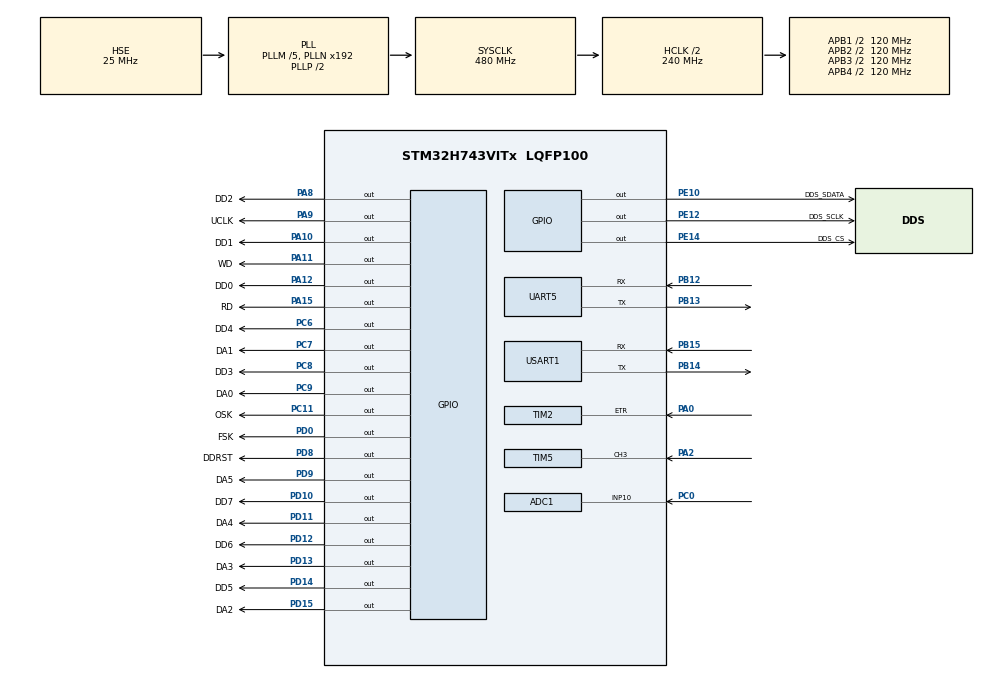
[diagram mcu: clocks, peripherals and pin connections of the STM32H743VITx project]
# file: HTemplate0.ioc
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ADC1.Channel-1\#ChannelRegularConversion=ADC_CHANNEL_10
ADC1.ClockPrescaler=ADC_CLOCK_ASYNC_DIV1
ADC1.ClockPrescalerADC3=ADC_CLOCK_ASYNC_DIV1
ADC1.ContinuousConvMode=DISABLE
ADC1.ConversionDataManagement=ADC_CONVERSIONDATA_DMA_CIRCULAR
ADC1.ExternalTrigConv=ADC_EXTERNALTRIG_T6_TRGO
ADC1.NbrOfConversionFlag=1
ADC1.OffsetNumber-1\#ChannelRegularConversion=ADC_OFFSET_NONE
ADC1.OffsetSignedSaturation-1\#ChannelRegularConversion=DISABLE
ADC1.Overrun=ADC_OVR_DATA_PRESERVED
ADC1.Rank-1\#ChannelRegularConversion=1
ADC1.Resolution=ADC_RESOLUTION_16B
ADC1.SamplingTime-1\#ChannelRegularConversion=ADC_SAMPLETIME_1CYCLE_5
ADC1.master=1
CORTEX_M7.CPU_DCache=Enabled
CORTEX_M7.Enable_S-Cortex_Memory_Protection_Unit_Region1_Settings_S=__NULL
Dma.ADC1.0.Direction=DMA_PERIPH_TO_MEMORY
Dma.ADC1.0.EventEnable=DISABLE
Dma.ADC1.0.FIFOMode=DMA_FIFOMODE_DISABLE
Dma.ADC1.0.Instance=DMA1_Stream0
Dma.ADC1.0.MemDataAlignment=DMA_MDATAALIGN_HALFWORD
Dma.ADC1.0.MemInc=DMA_MINC_ENABLE
Dma.ADC1.0.Mode=DMA_NORMAL
Dma.ADC1.0.PeriphDataAlignment=DMA_PDATAALIGN_HALFWORD
Dma.ADC1.0.PeriphInc=DMA_PINC_DISABLE
Dma.ADC1.0.Polarity=HAL_DMAMUX_REQ_GEN_RISING
Dma.ADC1.0.Priority=DMA_PRIORITY_LOW
Dma.ADC1.0.RequestNumber=1
Dma.ADC1.0.SignalID=NONE
Dma.ADC1.0.SyncEnable=DISABLE
Dma.ADC1.0.SyncPolarity=HAL_DMAMUX_SYNC_NO_EVENT
Dma.ADC1.0.SyncRequestNumber=1
Dma.ADC1.0.SyncSignalID=NONE
Dma.Request0=ADC1
Mcu.Family=STM32H7
Mcu.Name=STM32H743VITx
Mcu.Package=LQFP100
NVIC.DMA1_Stream0_IRQn=true\:0\:0\:false\:false\:true\:false\:true\:true
NVIC.PriorityGroup=NVIC_PRIORITYGROUP_4
NVIC.TIM4_IRQn=true\:0\:0\:false\:false\:true\:true\:true\:true
NVIC.TIM5_IRQn=true\:0\:0\:false\:false\:true\:true\:true\:true
NVIC.USART1_IRQn=true\:0\:0\:false\:false\:true\:true\:true\:true
PA0.Signal=S_TIM2_CH1_ETR
PA10.GPIO_Label=DD1
PA10.GPIO_PuPd=GPIO_PULLDOWN
PA10.GPIO_Speed=GPIO_SPEED_FREQ_VERY_HIGH
PA10.PinState=GPIO_PIN_RESET
PA10.Signal=GPIO_Output
PA11.GPIO_Label=WD
PA11.GPIO_PuPd=GPIO_PULLUP
PA11.GPIO_Speed=GPIO_SPEED_FREQ_VERY_HIGH
PA11.PinState=GPIO_PIN_SET
PA11.Signal=GPIO_Output
PA12.GPIO_Label=DD0
PA12.GPIO_PuPd=GPIO_PULLDOWN
PA12.GPIO_Speed=GPIO_SPEED_FREQ_VERY_HIGH
PA12.PinState=GPIO_PIN_RESET
PA12.Signal=GPIO_Output
PA13\ (JTMS/SWDIO).Mode=Serial_Wire
PA13\ (JTMS/SWDIO).Signal=DEBUG_JTMS-SWDIO
PA14\ (JTCK/SWCLK).Mode=Serial_Wire
PA14\ (JTCK/SWCLK).Signal=DEBUG_JTCK-SWCLK
PA15\ (JTDI).GPIO_Label=RD
PA15\ (JTDI).GPIO_PuPd=GPIO_PULLUP
PA15\ (JTDI).GPIO_Speed=GPIO_SPEED_FREQ_VERY_HIGH
PA15\ (JTDI).PinState=GPIO_PIN_SET
PA15\ (JTDI).Signal=GPIO_Output
PA2.GPIO_PuPd=GPIO_PULLDOWN
PA2.GPIO_Speed=GPIO_SPEED_FREQ_VERY_HIGH
PA2.Signal=S_TIM5_CH3
PA8.GPIO_Label=DD2
PA8.GPIO_PuPd=GPIO_PULLDOWN
PA8.GPIO_Speed=GPIO_SPEED_FREQ_VERY_HIGH
PA8.PinState=GPIO_PIN_RESET
PA8.Signal=GPIO_Output
PA9.GPIO_Label=UCLK
PA9.GPIO_PuPd=GPIO_PULLDOWN
PA9.GPIO_Speed=GPIO_SPEED_FREQ_VERY_HIGH
PA9.PinState=GPIO_PIN_RESET
PA9.Signal=GPIO_Output
PB12.Mode=Asynchronous
PB12.Signal=UART5_RX
PB13.Mode=Asynchronous
PB13.Signal=UART5_TX
PB14.Mode=Asynchronous
PB14.Signal=USART1_TX
PB15.Mode=Asynchronous
PB15.Signal=USART1_RX
PC0.Signal=ADCx_INP10
PC11.GPIO_Label=OSK
PC11.GPIO_PuPd=GPIO_PULLDOWN
PC11.GPIO_Speed=GPIO_SPEED_FREQ_VERY_HIGH
PC11.PinState=GPIO_PIN_RESET
PC11.Signal=GPIO_Output
PC6.GPIO_Label=DD4
PC6.GPIO_PuPd=GPIO_PULLDOWN
PC6.GPIO_Speed=GPIO_SPEED_FREQ_VERY_HIGH
PC6.PinState=GPIO_PIN_RESET
PC6.Signal=GPIO_Output
PC7.GPIO_Label=DA1
PC7.GPIO_PuPd=GPIO_PULLDOWN
PC7.GPIO_Speed=GPIO_SPEED_FREQ_VERY_HIGH
PC7.PinState=GPIO_PIN_RESET
PC7.Signal=GPIO_Output
PC8.GPIO_Label=DD3
PC8.GPIO_PuPd=GPIO_PULLDOWN
PC8.GPIO_Speed=GPIO_SPEED_FREQ_VERY_HIGH
PC8.PinState=GPIO_PIN_RESET
PC8.Signal=GPIO_Output
PC9.GPIO_Label=DA0
PC9.GPIO_PuPd=GPIO_PULLDOWN
PC9.GPIO_Speed=GPIO_SPEED_FREQ_VERY_HIGH
PC9.PinState=GPIO_PIN_RESET
PC9.Signal=GPIO_Output
PD0.GPIO_Label=FSK
PD0.GPIO_PuPd=GPIO_PULLDOWN
PD0.GPIO_Speed=GPIO_SPEED_FREQ_VERY_HIGH
PD0.PinState=GPIO_PIN_RESET
PD0.Signal=GPIO_Output
PD10.GPIO_Label=DD7
PD10.GPIO_PuPd=GPIO_PULLDOWN
PD10.GPIO_Speed=GPIO_SPEED_FREQ_VERY_HIGH
PD10.PinState=GPIO_PIN_RESET
PD10.Signal=GPIO_Output
PD11.GPIO_Label=DA4
PD11.GPIO_PuPd=GPIO_PULLDOWN
PD11.GPIO_Speed=GPIO_SPEED_FREQ_VERY_HIGH
PD11.PinState=GPIO_PIN_RESET
PD11.Signal=GPIO_Output
PD12.GPIO_Label=DD6
PD12.GPIO_PuPd=GPIO_PULLDOWN
PD12.GPIO_Speed=GPIO_SPEED_FREQ_VERY_HIGH
PD12.PinState=GPIO_PIN_RESET
PD12.Signal=GPIO_Output
PD13.GPIO_Label=DA3
PD13.GPIO_PuPd=GPIO_PULLDOWN
PD13.GPIO_Speed=GPIO_SPEED_FREQ_VERY_HIGH
PD13.PinState=GPIO_PIN_RESET
PD13.Signal=GPIO_Output
PD14.GPIO_Label=DD5
PD14.GPIO_PuPd=GPIO_PULLDOWN
PD14.GPIO_Speed=GPIO_SPEED_FREQ_VERY_HIGH
PD14.Signal=GPIO_Output
PD15.GPIO_Label=DA2
PD15.GPIO_PuPd=GPIO_PULLDOWN
PD15.GPIO_Speed=GPIO_SPEED_FREQ_VERY_HIGH
PD15.PinState=GPIO_PIN_RESET
PD15.Signal=GPIO_Output
PD8.GPIO_Label=DDRST
PD8.GPIO_PuPd=GPIO_PULLDOWN
PD8.GPIO_Speed=GPIO_SPEED_FREQ_VERY_HIGH
PD8.PinState=GPIO_PIN_RESET
PD8.Signal=GPIO_Output
PD9.GPIO_Label=DA5
PD9.GPIO_PuPd=GPIO_PULLDOWN
PD9.GPIO_Speed=GPIO_SPEED_FREQ_VERY_HIGH
PD9.PinState=GPIO_PIN_RESET
PD9.Signal=GPIO_Output
PE10.GPIO_Label=DDS_SDATA
PE10.GPIO_PuPd=GPIO_PULLUP
PE10.GPIO_Speed=GPIO_SPEED_FREQ_VERY_HIGH
PE10.PinState=GPIO_PIN_SET
PE10.Signal=GPIO_Output
PE12.GPIO_Label=DDS_SCLK
PE12.GPIO_PuPd=GPIO_PULLDOWN
PE12.GPIO_Speed=GPIO_SPEED_FREQ_VERY_HIGH
PE12.PinState=GPIO_PIN_RESET
PE12.Signal=GPIO_Output
PE14.GPIO_Label=DDS_CS
PE14.GPIO_ModeDefaultOutputPP=GPIO_MODE_OUTPUT_PP
PE14.GPIO_PuPd=GPIO_PULLUP
PE14.GPIO_Speed=GPIO_SPEED_FREQ_VERY_HIGH
PE14.PinState=GPIO_PIN_SET
PE14.Signal=GPIO_Output
PH0-OSC_IN\ (PH0).Mode=HSE-External-Oscillator
PH0-OSC_IN\ (PH0).Signal=RCC_OSC_IN
PH1-OSC_OUT\ (PH1).Mode=HSE-External-Oscillator
PH1-OSC_OUT\ (PH1).Signal=RCC_OSC_OUT
ProjectManager.HeapSize=0x200
ProjectManager.StackSize=0x7400
ProjectManager.TargetToolchain=MDK-ARM V5.32
RCC.ADCFreq_Value=72000000
RCC.APB1Freq_Value=120000000
RCC.APB2Freq_Value=120000000
RCC.APB3Freq_Value=120000000
RCC.APB4Freq_Value=120000000
RCC.CortexFreq_Value=480000000
RCC.D1PPRE=RCC_APB3_DIV2
RCC.D2PPRE1=RCC_APB1_DIV2
RCC.D2PPRE2=RCC_APB2_DIV2
RCC.D3PPRE=RCC_APB4_DIV2
RCC.DIVM1=5
RCC.DIVM2=25
RCC.DIVN1=192
RCC.DIVN2=360
RCC.DIVP2=5
RCC.HCLKFreq_Value=240000000
RCC.HPRE=RCC_HCLK_DIV2
RCC.PLL2FRACN=0
RCC.PLL3FRACN=0
RCC.PLLFRACN=0
RCC.PLLSourceVirtual=RCC_PLLSOURCE_HSE
RCC.PWR_Regulator_Voltage_Scale=PWR_REGULATOR_VOLTAGE_SCALE0
RCC.SYSCLKFreq_VALUE=480000000
RCC.SYSCLKSource=RCC_SYSCLKSOURCE_PLLCLK
RCC.USBFreq_Value=480000000
SH.ADCx_INP10.0=ADC1_INP10,IN10-Single-Ended
SH.S_TIM2_CH1_ETR.0=TIM2_ETR,ClockSourceETR_Mode2
SH.S_TIM5_CH3.0=TIM5_CH3,Input_Capture3_from_TI3
TIM2.AutoReloadPreload=TIM_AUTORELOAD_PRELOAD_ENABLE
TIM2.ClockDivision=TIM_CLOCKDIVISION_DIV1
TIM2.Period=4294967295
TIM2.Prescaler=0
TIM4.AutoReloadPreload=TIM_AUTORELOAD_PRELOAD_ENABLE
TIM4.CounterMode=TIM_COUNTERMODE_UP
TIM4.Period=5000-1
TIM4.Prescaler=48-1
TIM5.AutoReloadPreload=TIM_AUTORELOAD_PRELOAD_ENABLE
TIM5.Channel-Input_Capture3_from_TI3=TIM_CHANNEL_3
TIM5.ICFilter_CH3=8
TIM5.Prescaler=0
TIM6.Period=16-1
TIM6.Prescaler=5-1
TIM6.TIM_MasterOutputTrigger=TIM_TRGO_UPDATE
TIM7.Prescaler=240
USART1.VirtualMode-Asynchronous=VM_ASYNC
VP_TIM4_VS_ClockSourceINT.Mode=Internal
VP_TIM5_VS_ClockSourceINT.Mode=Internal
VP_TIM6_VS_ClockSourceINT.Mode=Enable_Timer
VP_TIM7_VS_ClockSourceINT.Mode=Enable_Timer
board=custom

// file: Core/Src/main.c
/* USER CODE BEGIN Header */
/**
  ******************************************************************************
  * @file           : main.c
  * @brief          : Main program body
  ******************************************************************************
  * @attention
  *
  * Copyright (c) 2022 STMicroelectronics.
  * All rights reserved.
  *
  * This software is licensed under terms that can be found in the LICENSE file
  * in the root directory of this software component.
  * If no LICENSE file comes with this software, it is provided AS-IS.
  *
  ******************************************************************************
  */
/* USER CODE END Header */
#include "main.h"
#include "dma.h"
#include "tim.h"
#include "usart.h"
#include "gpio.h"

/* USER CODE BEGIN Includes */

ALIGN_32BYTES (uint16_t adc1_data[FFT_LENGTH]) 	__attribute__((section(".ARM.__at_0x30020000")));
__IO uint8_t fre_flag0 = 0;//表示载波频率测量结束

extern uint32_t 	flag;  // 输出频率标志位

__IO uint8_t AdcConvEnd = 0;//表示adc采集完成
__IO uint16_t fre_count = 0;//fm扫描标志位，在第101个上升沿

u16 			None_flag 				= 0;
u16 			AM_flag 					= 0;
u16 			FM_flag 					= 0;
uint32_t 	fm_value[10]  	= {0};//fm扫频临时存放值

uint32_t 	cnt 						= 0;  // 计数值，库函数为unit32_t
uint32_t 	cnt_value[201] 	= {0};
uint32_t 	capture_Buf[3] 	= {0};   //存放计数值
uint8_t 		capture_Cnt 			= 0;    //状态标志位
uint32_t 	high_time 				= 0;   //高电平时间
u16 			fm_temp 					= 0;
float	count_flag = 0;

/* USER CODE END Includes */

/* USER CODE BEGIN PV */
void adc_init(void)
{
    MX_ADC1_Init();	//初始化调用放这里, 确保在MX_DMA_Init()初始化后面
    HAL_Delay(100);	//有地方说这里可以等等电压稳定后再校准

    if (HAL_ADCEx_Calibration_Start(&hadc1, ADC_CALIB_OFFSET, ADC_SINGLE_ENDED) != HAL_OK)
    {
        printf("hadc1 error with HAL_ADCEx_Calibration_Start\r\n");
        Error_Handler();
    }

    if (HAL_ADC_Start_DMA(&hadc1, (uint32_t *)adc1_data, ADC1_BUFFER_SIZE) != HAL_OK)
    {
        printf("hadc1 error with HAL_ADC_Start_DMA\r\n");
        Error_Handler();
    }

		HAL_TIM_Base_Start(&htim6);
		while (!AdcConvEnd);
		AdcConvEnd = 0;
}

/* USER CODE END PV */

void SystemClock_Config(void);

int main(void)
{

  /* Enable D-Cache---------------------------------------------------------*/
  SCB_EnableDCache();

  /* MCU Configuration--------------------------------------------------------*/

  /* Reset of all peripherals, Initializes the Flash interface and the Systick. */
  HAL_Init();

  /* Configure the system clock */
  SystemClock_Config();

  /* Initialize all configured peripherals */
  MX_GPIO_Init();
  MX_DMA_Init();
  MX_USART1_UART_Init();
  MX_TIM2_Init();
  MX_TIM4_Init();
  MX_TIM5_Init();
  MX_TIM6_Init();
  MX_TIM7_Init();
  MX_UART5_Init();
  /* USER CODE BEGIN 2 */
	AD9833_Init();
	init_esp8266();
	connect_udp(3);
	AD9854_Init();
	for(int mino = 0;mino<5; mino++)
		AD9854_SetSine_double((1000 + 50000),4095);
	char screen_message[70];
	for(int i = 0;i<5;i++)
	USART1PutString("t6.txt=\"None\"\xff\xff\xff");
	sprintf(screen_message,"x1.val=%d\xff\xff\xff",(int)(0));
	USART1PutString(screen_message);
	sprintf(screen_message,"x2.val=%d\xff\xff\xff",(int)(0));
	USART1PutString(screen_message);
	sprintf(screen_message,"x0.val=%d\xff\xff\xff",(int)(0));
	USART1PutString(screen_message);
	sprintf(screen_message,"x3.val=%d\xff\xff\xff",(int)(0));
	USART1PutString(screen_message);
  /* USER CODE END 2 */
  /* Infinite loop */
  while (1)
  {

    /* USER CODE BEGIN 3 */

		if(None_flag)
		{

				None_flag = 0;
				HAL_TIM_Base_Start_IT(&htim4);
				HAL_TIM_Base_Start(&htim2);
				while(1){
				if(fre_flag0)
				break;
				};
				fre_flag0 = 0;
				fre_get();
				for(int mino = 0;mino<5; mino++)
				AD9854_SetSine_double((frequency + 50000),4095);
				printf("%d \r\n", frequency);
				TIM6->PSC = 30-1;
				adc_init();
//				Raw_Wave();
				FFT_Init();
				FFT_DIS();
				JUDGE();
				if(FM_flag == 1)
				{
					for(int i = 0;i<5;i++)
					USART1PutString("t6.txt=\"FM\"\xff\xff\xff");
					wave_type = 2;
					for(int mino = 0;mino<5; mino++)
					AD9854_SetSine_double((10000000 + 50000),4095);
					TIM6->PSC = 30-1;
					adc_init();
					FFT_Init();
					FM_peak();
					char screen_message[70];
					sprintf(screen_message,"x0.val=%d\xff\xff\xff",(int)(FM_fre/10));
					USART1PutString(screen_message);
					AD9854_SetSine_double((10000000 + 500000),4095);
					count_flag = (uint32_t)((float)50000/FM_fre);
					scanfre();
					sprintf(screen_message,"x3.val=%d\xff\xff\xff",(int)(fm_mf*100));
					USART1PutString(screen_message);
					AD9833_SetWaveData(FM_fre,0);
					AMDMF = fm_mf;
					send_fft();
					FM_flag = 0;
				}
				if(AM_flag == 1)
				{
					wave_type=1;
					AM_flag = 0;
					AM_peak2();
					AM_MF0();
					for(int i = 0;i<5;i++)
					USART1PutString("t6.txt=\"AM\"\xff\xff\xff");
					char screen_message[70];
					sprintf(screen_message,"x1.val=%d\xff\xff\xff",(int)(AM_fre/10));
					USART1PutString(screen_message);
					sprintf(screen_message,"x2.val=%d\xff\xff\xff",(int)(AMDMF*100));
					USART1PutString(screen_message);
					AD9833_SetWaveData(AM_fre,0);
					AMDMF = AMDMF;
					send_fft();
				}
				if(None_flag == 1)
				{
					for(int i = 0;i<5;i++)
					USART1PutString("t6.txt=\"None\"\xff\xff\xff");
					wave_type=0;
					AD9833_SetWaveData(0,0);
					None_flag = 0;
				}
		}
		if(AM_flag)
		{
			printf("Fl\r\n");
			wave_type=1;
			for(int mino = 0;mino<5; mino++)
			AD9854_SetSine_double((10000000 + 50000),4095);
			TIM6->PSC = 30-1;
			adc_init();
			FFT_Init();
			FFT_DIS();
			AM_peak();
			AM_MF0();
			for(int i = 0;i<50;i++)
			USART1PutString("t6.txt=\"AM\"\xff\xff\xff");
			char screen_message[70];
			sprintf(screen_message,"x1.val=%d\xff\xff\xff",(int)(AM_fre/10));
			USART1PutString(screen_message);
			sprintf(screen_message,"x2.val=%d\xff\xff\xff",(int)(AMDMF*100));
			USART1PutString(screen_message);
			AD9833_SetWaveData(AM_fre,0);
			AMDMF = AMDMF;
			send_fft();
			AM_flag = 0;
		}
		if(FM_flag)
		{
				for(int i = 0;i<50;i++)
				USART1PutString("t6.txt=\"FM\"\xff\xff\xff");
				wave_type = 2;
				for(int mino = 0;mino<5; mino++)
				AD9854_SetSine_double((10000000 + 50000),4095);
				TIM6->PSC = 30-1;
				adc_init();
				FFT_Init();
				FM_peak();
				char screen_message[70];
				sprintf(screen_message,"x0.val=%d\xff\xff\xff",(int)(FM_fre/10));
				USART1PutString(screen_message);
				AD9854_SetSine_double((10000000 + 500000),4095);
				count_flag = (uint32_t)((float)50000/FM_fre);
				scanfre();
				sprintf(screen_message,"x3.val=%d\xff\xff\xff",(int)(fm_mf*100));
				USART1PutString(screen_message);
				AD9833_SetWaveData(FM_fre,0);
				AMDMF = fm_mf;
				send_fft();
				FM_flag = 0;
		}
  }
  /* USER CODE END 3 */
}

void SystemClock_Config(void)
{
  RCC_OscInitTypeDef RCC_OscInitStruct = {0};
  RCC_ClkInitTypeDef RCC_ClkInitStruct = {0};

  /** Supply configuration update enable
  */
  HAL_PWREx_ConfigSupply(PWR_LDO_SUPPLY);

  /** Configure the main internal regulator output voltage
  */
  __HAL_PWR_VOLTAGESCALING_CONFIG(PWR_REGULATOR_VOLTAGE_SCALE1);

  while(!__HAL_PWR_GET_FLAG(PWR_FLAG_VOSRDY)) {}

  __HAL_RCC_SYSCFG_CLK_ENABLE();
  __HAL_PWR_VOLTAGESCALING_CONFIG(PWR_REGULATOR_VOLTAGE_SCALE0);

  while(!__HAL_PWR_GET_FLAG(PWR_FLAG_VOSRDY)) {}

  /** Macro to configure the PLL clock source
  */
  __HAL_RCC_PLL_PLLSOURCE_CONFIG(RCC_PLLSOURCE_HSE);

  /** Initializes the RCC Oscillators according to the specified parameters
  * in the RCC_OscInitTypeDef structure.
  */
  RCC_OscInitStruct.OscillatorType = RCC_OSCILLATORTYPE_HSE;
  RCC_OscInitStruct.HSEState = RCC_HSE_ON;
  RCC_OscInitStruct.PLL.PLLState = RCC_PLL_ON;
  RCC_OscInitStruct.PLL.PLLSource = RCC_PLLSOURCE_HSE;
  RCC_OscInitStruct.PLL.PLLM = 5;
  RCC_OscInitStruct.PLL.PLLN = 192;
  RCC_OscInitStruct.PLL.PLLP = 2;
  RCC_OscInitStruct.PLL.PLLQ = 2;
  RCC_OscInitStruct.PLL.PLLR = 2;
  RCC_OscInitStruct.PLL.PLLRGE = RCC_PLL1VCIRANGE_2;
  RCC_OscInitStruct.PLL.PLLVCOSEL = RCC_PLL1VCOWIDE;
  RCC_OscInitStruct.PLL.PLLFRACN = 0;
  if (HAL_RCC_OscConfig(&RCC_OscInitStruct) != HAL_OK)
  {
    Error_Handler();
  }

  /** Initializes the CPU, AHB and APB buses clocks
  */
  RCC_ClkInitStruct.ClockType = RCC_CLOCKTYPE_HCLK|RCC_CLOCKTYPE_SYSCLK
                              |RCC_CLOCKTYPE_PCLK1|RCC_CLOCKTYPE_PCLK2
                              |RCC_CLOCKTYPE_D3PCLK1|RCC_CLOCKTYPE_D1PCLK1;
  RCC_ClkInitStruct.SYSCLKSource = RCC_SYSCLKSOURCE_PLLCLK;
  RCC_ClkInitStruct.SYSCLKDivider = RCC_SYSCLK_DIV1;
  RCC_ClkInitStruct.AHBCLKDivider = RCC_HCLK_DIV2;
  RCC_ClkInitStruct.APB3CLKDivider = RCC_APB3_DIV2;
  RCC_ClkInitStruct.APB1CLKDivider = RCC_APB1_DIV2;
  RCC_ClkInitStruct.APB2CLKDivider = RCC_APB2_DIV2;
  RCC_ClkInitStruct.APB4CLKDivider = RCC_APB4_DIV2;

  if (HAL_RCC_ClockConfig(&RCC_ClkInitStruct, FLASH_LATENCY_4) != HAL_OK)
  {
    Error_Handler();
  }
}

/* USER CODE BEGIN 4 */

void HAL_TIM_IC_CaptureCallback(TIM_HandleTypeDef *htim)
{

	if(htim->Instance == htim5.Instance)
	{
		switch(capture_Cnt)
		{

			case 1:
				capture_Buf[0] = HAL_TIM_ReadCapturedValue(&htim5,TIM_CHANNEL_3);//获取当前的捕获值.
				__HAL_TIM_SET_CAPTUREPOLARITY(&htim5,TIM_CHANNEL_3,TIM_ICPOLARITY_RISING);  //设置为下降沿捕获
				capture_Cnt++;
				break;
			case 2:
				fre_count++;
				if(fre_count >= count_flag)
				{
					capture_Buf[1] = HAL_TIM_ReadCapturedValue(&htim5,TIM_CHANNEL_3);//获取当前的捕获值.
					HAL_TIM_IC_Stop_IT(&htim5,TIM_CHANNEL_3); //停止捕获   或者: __HAL_TIM_DISABLE(&htim5);
					capture_Cnt++;
					fre_count = 0;
				}

		}

	}

}

void HAL_ADC_ConvCpltCallback(ADC_HandleTypeDef* hadc)
{
   if(hadc->Instance == ADC1) {
       SCB_InvalidateDCache_by_Addr((uint32_t *) &adc1_data[0], ADC1_BUFFER_SIZE);}
	 AdcConvEnd = 1;
}

void HAL_TIM_PeriodElapsedCallback(TIM_HandleTypeDef *htim)
{
	if (htim->Instance == htim4.Instance)
	{
			cnt_value[flag]= __HAL_TIM_GetCounter(&htim2);//读取外部计数器的值
			__HAL_TIM_SetCounter(&htim2,0);
			flag++;
			if(flag == 201)
			{
				flag = 0;
				QuickSort(cnt_value,1,200);
				frequency = (cnt_value[99]+cnt_value[100]+cnt_value[101])/3*16000;
				HAL_TIM_Base_Stop_IT(&htim4);
				fre_flag0 = 1;
			}
	}
}

/* USER CODE END 4 */

void Error_Handler(void)
{
  __disable_irq();
  while (1)
  {
  }
}
